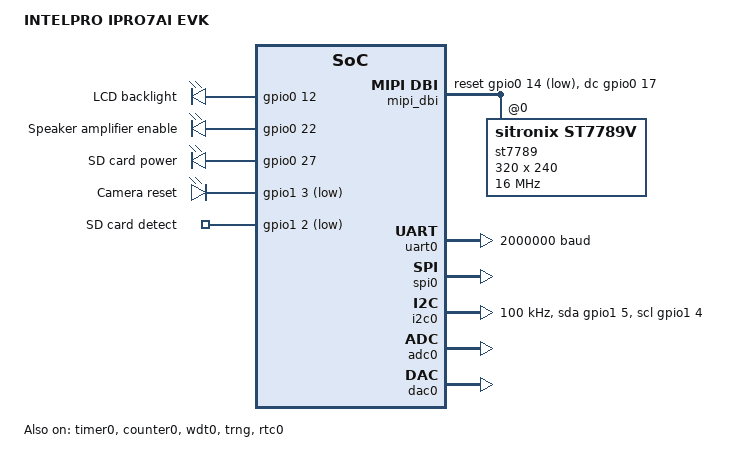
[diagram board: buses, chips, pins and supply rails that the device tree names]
/*
 * Copyright (c) 2026 INTELPRO
 * SPDX-License-Identifier: Apache-2.0
 *
 * INTELPRO IPRO7AI EVK: IPRO7AI QFN49 module with in-package flash and
 * 8 MB PSRAM on the IPRO7AI_MODULE_SUB_0812A carrier (2.4" ST7789P3 LCD,
 * SC101IOT camera, PDM mic, class-D speaker, micro-SD, Li-ion charger).
 * Pin map: bsp/board/ipro7/IPRO7AI_EVK.md.
 */

/dts-v1/;

#include <intelpro/ipro7.dtsi>
#include "ipro7ai_evk-pinctrl.dtsi"
#include <zephyr/dt-bindings/dma/ipro7-dma.h>

/ {
	model = "INTELPRO IPRO7AI EVK";
	compatible = "intelpro,ipro7ai-evk";

	chosen {
		zephyr,sram = &sram0;
		/* flash0 is the physical part; the controller's "ranges" maps it
		 * onto the XIP window boot2 opens (FW partition -> 0x13000000), so
		 * the linker takes ROM from the chosen code partition. */
		zephyr,flash = &flash0;
		zephyr,flash-controller = &flashctrl;
		zephyr,code-partition = &slot0_partition;
		zephyr,console = &uart0;
		zephyr,shell-uart = &uart0;
		zephyr,entropy = &trng;
		zephyr,display = &st7789;
	};

	aliases {
		led0 = &lcd_backlight;
		watchdog0 = &wdt0;
		spi-flash0 = &flash0;
	};

	leds {
		compatible = "gpio-leds";
		/* LCD backlight enable (GPIO12, active high) doubles as the
		 * visible "LED" for blinky-style samples. */
		lcd_backlight: led_0 {
			gpios = <&gpio0 12 GPIO_ACTIVE_HIGH>;
			label = "LCD backlight";
		};
		spk_enable: led_1 {
			gpios = <&gpio0 22 GPIO_ACTIVE_HIGH>;
			label = "Speaker amplifier enable";
		};
		sd_power: led_2 {
			gpios = <&gpio0 27 GPIO_ACTIVE_HIGH>;
			label = "SD card power";
		};
		/* SC101IOT reset, active low, level-shifted by Q3 (no PWDN pin).
		 * board.c releases it with MCLK running so the sensor answers on
		 * SCCB (CONFIG_BOARD_IPRO7AI_EVK_CAMERA_POWER). */
		cam_reset: led_3 {
			gpios = <&gpio1 3 GPIO_ACTIVE_LOW>;   /* GPIO35 */
			label = "Camera reset";
		};
	};

	gpio_keys {
		compatible = "gpio-keys";
		sd_detect: sd_detect {
			gpios = <&gpio1 2 (GPIO_PULL_UP | GPIO_ACTIVE_LOW)>;   /* GPIO34 */
			label = "SD card detect";
		};
	};

	mipi_dbi {
		compatible = "zephyr,mipi-dbi-spi";
		spi-dev = <&spi0>;
		dc-gpios = <&gpio0 17 GPIO_ACTIVE_HIGH>;
		reset-gpios = <&gpio0 14 GPIO_ACTIVE_LOW>;
		#address-cells = <1>;
		#size-cells = <0>;

		/* HEM LCM-T2D4BP-084, ST7789P3, 240x320 */
		st7789: st7789v@0 {
			compatible = "sitronix,st7789v";
			reg = <0>;
			/* The SDK demo drives this panel at 16 MHz (polled SPI). */
			mipi-max-frequency = <16000000>;
			/* Landscape, rotated 90 degrees counter-clockwise from the
			 * panel's native portrait: MADCTL MV|MY (the SDK demo's
			 * default "dir 3"); use 0x60 (MV|MX) for the other way round. */
			width = <320>;
			height = <240>;
			x-offset = <0>;
			y-offset = <0>;
			vcom = <0x19>;
			gctrl = <0x35>;
			vrhs = <0x12>;
			/* No vdvs: the ST7789P3 has no C4h (VDVS) command; the driver
			 * only sends it when the property is present. Values follow the
			 * SDK's "tuned" sequence (apps/platform/ipro7ai_evk_demo). */
			mdac = <0xA0>;
			gamma = <0x01>;
			colmod = <0x05>;
			lcm = <0x2c>;
			porch-param = [0c 0c 00 33 33];
			cmd2en-param = [5a 69 02 01];
			pwctrl1-param = [a4 a1];
			pvgam-param = [D0 04 0D 11 13 2B 3F 54 4C 18 0D 0B 1F 23];
			nvgam-param = [D0 04 0C 11 13 2C 3F 44 51 2F 1F 1F 20 23];
			ram-param = [00 F0];
			rgb-param = [CD 08 14];
			mipi-mode = "MIPI_DBI_MODE_SPI_4WIRE";
			status = "okay";
		};
	};
};

&psram0 {
	status = "okay";
};

&uart0 {
	status = "okay";
	current-speed = <2000000>;
	pinctrl-0 = <&uart0_default>;
	pinctrl-names = "default";
};

&gpio0 {
	status = "okay";
};

&gpio1 {
	status = "okay";
};

/* LCD: SCLK 15 / MOSI 16, CS on GPIO10 (software). The EVB-style pin swap
 * is not used on this board (MOSI is the MOSI position of pad group 4). */
&spi0 {
	status = "okay";
	pinctrl-0 = <&spi0_lcd>;
	pinctrl-names = "default";
	cs-gpios = <&gpio0 10 GPIO_ACTIVE_LOW>;
	/* LCD frames by DMA (channel 2; 0 = AUADC HAL, 1 = GPDAC stream). */
	dmas = <&dma0 2 IPRO7_DMA_REQ_SPI0_TX>;
	dma-names = "tx";
};

&dma0 {
	status = "okay";
};

/* Camera SCCB: SC101IOT, 7-bit address 0x68 (ID 0xf7/0xf8 = 0xda/0x4a) */
&i2c0 {
	status = "okay";
	pinctrl-0 = <&i2c0_cam>;
	pinctrl-names = "default";
	clock-frequency = <I2C_BITRATE_STANDARD>;
	/* GPIO36/37 = gpio1 pins 4/5: stuck-bus guard + recovery (the driver
	 * samples them as GPIO inputs; an AF pad reads 0 through GLB). */
	scl-gpios = <&gpio1 4 GPIO_ACTIVE_HIGH>;
	sda-gpios = <&gpio1 5 GPIO_ACTIVE_HIGH>;
};

&timer0 {
	status = "okay";
};

&counter0 {
	status = "okay";
};

&wdt0 {
	status = "okay";
};

&dma0 {
	status = "okay";
};

&trng {
	status = "okay";
};

&rtc0 {
	status = "okay";
};

&adc0 {
	status = "okay";
};

&dac0 {
	status = "okay";
};

/* Infineon IM69D129 PDM microphone on the AON pads GPIO18 (CLK) / 19 (DATA),
 * SELECT grounded = left slot. The AUADC HAL muxes the pads itself. */
&pdm0 {
	clk-pin = <18>;
	data-pin = <19>;
	channel = "left";
};

&flashctrl {
	/* Real IPRO7AI EVK (W25Q80, 1 MB, checked 2026-09-21): the newer boot2
	 * layout, partition_cfg_1M_boot2.toml. The IntelProCube tool writes a
	 * 4 KB image header at the start of the "FW" partition (0x12000) and
	 * the firmware from 0x13000; boot2 maps that at 0x13000000. So physical
	 * 0x13000 <-> 0x13000000. */
	ranges = <0x0 0x12fed000 DT_SIZE_M(1)>;
};

&flash0 {
	/* W25Q80 (JEDEC EF4014): 1 MB. Layout = partition_cfg_1M_boot2.toml:
	 * boot2 64 KB, two partition-table copies at 0x10000/0x11000, "FW"
	 * 0x12000 .. 0xda000 (800 KB), PSM (= "storage" here) 0xda000. */
	reg = <0x0 DT_SIZE_M(1)>;

	partitions {
		compatible = "fixed-partitions";
		#address-cells = <1>;
		#size-cells = <1>;

		boot2_partition: partition@0 {
			label = "boot2";
			reg = <0x00000000 0x10000>;
			read-only;
		};
		pt_partition: partition@10000 {
			label = "pt";
			reg = <0x00010000 0x2000>;
			read-only;
		};
		/* boot2's "FW" region (0x12000 .. 0xda000): 4 KB tool header, then
		 * the firmware at 0x13000 = XIP 0x13000000. With MCUboot: a 96 KB
		 * bootloader there, a 348 KB primary and a 344 KB secondary slot
		 * (the flash tool's FW image must end 16 B short of the region, so
		 * the last slot stops one sector early). Without MCUboot an
		 * application links at 0x13000 and may span the region
		 * (FLASH_LOAD_OFFSET/SIZE in Kconfig.defconfig). */
		fwhdr_partition: partition@12000 {
			label = "fw-header";
			reg = <0x00012000 0x1000>;
			read-only;
		};
		boot_partition: partition@13000 {
			label = "mcuboot";
			reg = <0x00013000 0x18000>;
		};
		slot0_partition: partition@2b000 {
			label = "image-0";
			reg = <0x0002b000 0x57000>;
		};
		slot1_partition: partition@82000 {
			label = "image-1";
			reg = <0x00082000 0x56000>;
		};
		storage_partition: partition@da000 {
			label = "storage";
			reg = <0x000da000 DT_SIZE_K(128)>;
		};
		backup_partition: partition@fa000 {
			label = "backup";
			reg = <0x000fa000 DT_SIZE_K(4)>;
		};
		media_partition: partition@fb000 {
			label = "media";
			reg = <0x000fb000 DT_SIZE_K(16)>;
		};
		factory_partition: partition@ff000 {
			label = "factory";
			reg = <0x000ff000 DT_SIZE_K(4)>;
		};
	};
};
